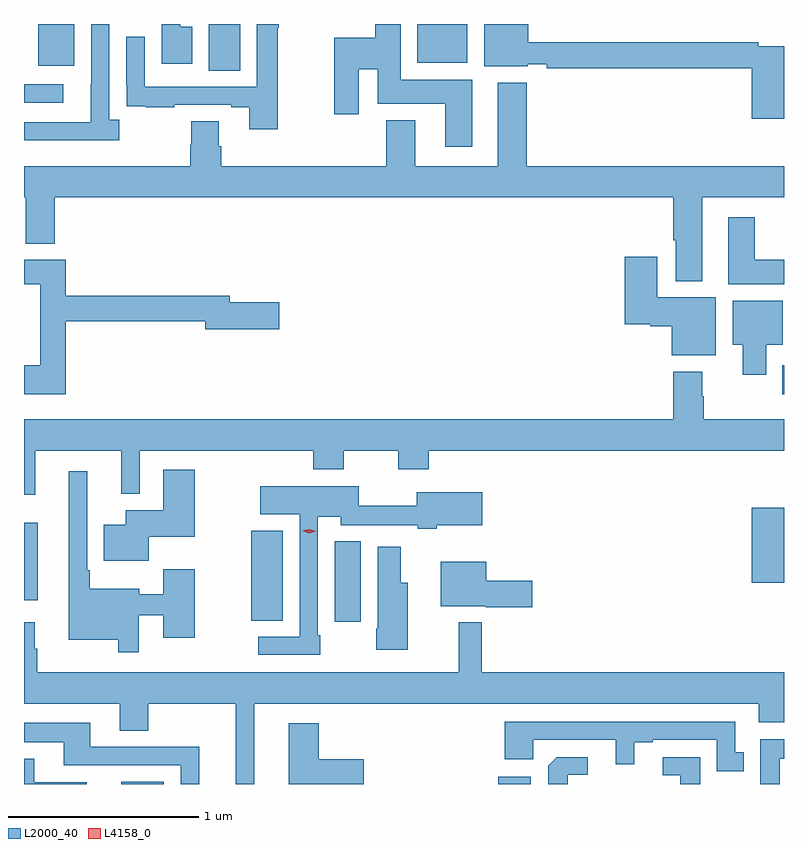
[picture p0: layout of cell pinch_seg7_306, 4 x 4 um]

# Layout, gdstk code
import gdstk
lib = gdstk.Library(unit=1e-6, precision=1e-09)
def R(c, l, rs):  # rectangles x0, y0, x1, y1
    for r in rs: c.add(gdstk.rectangle(r[:2], r[2:], *l))
def P(c, l, *ps):  # polygons
    for p in ps: c.add(gdstk.Polygon(p, *l))
L2000_40 = (2000, 40)
L4158_0 = (4158, 0)

pinch_seg7_306 = lib.new_cell('pinch_seg7_306')
R(pinch_seg7_306, L2000_40, [(538.97,1049.477,539.194,1049.488), (540.956,1049.477,541.126,1049.515), (540.095,1050.33,540.232,1050.755), (539.654,1050.337,539.821,1050.811), (538.459,1050.443,538.531,1050.853), (542.288,1050.537,542.459,1050.931), (542.45,1051.529,542.459,1051.681), (538.459,1053.063,538.666,1053.159), (539.432,1053.232,539.596,1053.477), (538.535,1053.257,538.723,1053.477), (540.53,1053.272,540.793,1053.477)])
P(pinch_seg7_306, L2000_40, [(539.344,1053.463),(539.281,1053.463),(539.281,1053.477),(539.183,1053.477),(539.183,1053.267),(539.344,1053.267)],
  [(538.96,1052.974),(538.908,1052.974),(538.908,1053.477),(538.812,1053.477),(538.812,1053.161),(538.811,1053.161),(538.811,1052.961),(538.459,1052.961),(538.459,1052.864),(538.96,1052.864)],
  [(539.794,1053.456),(539.801,1053.456),(539.801,1053.477),(539.685,1053.477),(539.685,1053.147),(539.094,1053.147),(539.094,1053.409),(538.998,1053.409),(538.998,1053.154),(538.999,1053.154),(538.999,1053.045),(539.101,1053.045),(539.101,1053.039),(539.249,1053.039),(539.249,1053.051),(539.549,1053.051),(539.549,1053.039),(539.645,1053.039),(539.645,1052.922),(539.794,1052.922)],
  [(540.817,1053.184),(540.442,1053.184),(540.442,1053.477),(540.308,1053.477),(540.308,1053.404),(540.091,1053.404),(540.091,1053.003),(540.22,1053.003),(540.22,1053.239),(540.32,1053.239),(540.32,1053.056),(540.677,1053.056),(540.677,1052.832),(540.817,1052.832)],
  [(542.459,1053.36),(542.324,1053.36),(542.324,1053.38),(541.114,1053.38),(541.114,1053.477),(540.881,1053.477),(540.881,1053.254),(541.11,1053.254),(541.11,1053.264),(541.21,1053.264),(541.21,1053.244),(542.288,1053.244),(542.288,1052.979),(542.459,1052.979)],
  [(542.029,1052.564),(542.459,1052.564),(542.459,1052.728),(541.106,1052.728),(541.106,1053.169),(540.953,1053.169),(540.953,1052.728),(540.517,1052.728),(540.517,1052.971),(540.365,1052.971),(540.365,1052.728),(539.498,1052.728),(539.498,1052.834),(539.485,1052.834),(539.485,1052.966),(539.338,1052.966),(539.338,1052.841),(539.333,1052.841),(539.333,1052.728),(538.459,1052.728),(538.459,1052.564),(538.469,1052.564),(538.469,1052.321),(538.622,1052.321),(538.622,1052.564),(541.877,1052.564),(541.877,1052.338),(541.889,1052.338),(541.889,1052.123),(542.029,1052.123)],
  [(542.459,1052.236),(542.305,1052.236),(542.305,1052.461),(542.165,1052.461),(542.165,1052.108),(542.459,1052.108)],
  [(542.101,1052.038),(541.792,1052.038),(541.792,1052.251),(541.622,1052.251),(541.622,1051.898),(541.755,1051.898),(541.755,1051.886),(541.868,1051.886),(541.868,1051.733),(542.101,1051.733)],
  [(538.679,1051.912),(539.414,1051.912),(539.414,1051.87),(539.803,1051.87),(539.803,1052.012),(539.542,1052.012),(539.542,1052.048),(538.679,1052.048),(538.679,1052.236),(538.459,1052.236),(538.459,1052.108),(538.544,1052.108),(538.544,1051.681),(538.459,1051.681),(538.459,1051.529),(538.679,1051.529)],
  [(542.365,1051.79),(542.452,1051.79),(542.452,1052.02),(542.189,1052.02),(542.189,1051.79),(542.243,1051.79),(542.243,1051.632),(542.365,1051.632)],
  [(538.517,1051.232),(538.97,1051.232),(538.97,1051.004),(539.067,1051.004),(539.067,1051.232),(539.981,1051.232),(539.981,1051.133),(540.141,1051.133),(540.141,1051.232),(540.43,1051.232),(540.43,1051.133),(540.59,1051.133),(540.59,1051.232),(542.459,1051.232),(542.459,1051.396),(542.037,1051.396),(542.037,1051.517),(542.029,1051.517),(542.029,1051.648),(541.877,1051.648),(541.877,1051.396),(538.459,1051.396),(538.459,1050.999),(538.517,1050.999)],
  [(539.116,1050.779),(539.358,1050.779),(539.358,1051.132),(539.192,1051.132),(539.192,1050.919),(538.994,1050.919),(538.994,1050.841),(538.88,1050.841),(538.88,1050.653),(539.116,1050.653)],
  [(539.064,1050.366),(539.192,1050.366),(539.192,1050.246),(539.358,1050.246),(539.358,1050.607),(539.192,1050.607),(539.192,1050.475),(539.065,1050.475),(539.065,1050.505),(538.804,1050.505),(538.804,1050.601),(538.791,1050.601),(538.791,1051.123),(538.694,1051.123),(538.694,1050.236),(538.956,1050.236),(538.956,1050.171),(539.064,1050.171)],
  [(540.019,1050.259),(540.006,1050.259),(540.006,1050.884),(540.126,1050.884),(540.126,1050.84),(540.531,1050.84),(540.531,1050.82),(540.631,1050.82),(540.631,1050.839),(540.871,1050.839),(540.871,1051.012),(540.527,1051.012),(540.527,1050.941),(540.222,1050.941),(540.222,1051.045),(539.703,1051.045),(539.703,1050.896),(539.91,1050.896),(539.91,1050.252),(539.691,1050.252),(539.691,1050.156),(540.019,1050.156)],
  [(540.478,1050.535),(540.442,1050.535),(540.442,1050.727),(540.32,1050.727),(540.32,1050.295),(540.313,1050.295),(540.313,1050.183),(540.478,1050.183)],
  [(541.135,1050.548),(540.892,1050.548),(540.892,1050.646),(540.653,1050.646),(540.653,1050.413),(540.888,1050.413),(540.888,1050.406),(541.135,1050.406)],
  [(539.672,1049.9),(542.327,1049.9),(542.327,1049.801),(542.459,1049.801),(542.459,1050.064),(540.868,1050.064),(540.868,1050.328),(540.748,1050.328),(540.748,1050.064),(538.528,1050.064),(538.528,1050.188),(538.516,1050.188),(538.516,1050.328),(538.459,1050.328),(538.459,1049.9),(538.964,1049.9),(538.964,1049.758),(539.112,1049.758),(539.112,1049.9),(539.573,1049.9),(539.573,1049.477),(539.672,1049.477)],
  [(542.248,1049.643),(542.202,1049.643),(542.202,1049.805),(540.989,1049.805),(540.989,1049.606),(541.14,1049.606),(541.14,1049.709),(541.574,1049.709),(541.574,1049.58),(541.672,1049.58),(541.672,1049.697),(541.768,1049.697),(541.768,1049.709),(542.106,1049.709),(542.106,1049.543),(542.248,1049.543)],
  [(539.381,1049.673),(538.807,1049.673),(538.807,1049.8),(538.459,1049.8),(538.459,1049.696),(538.667,1049.696),(538.667,1049.577),(539.283,1049.577),(539.283,1049.477),(539.381,1049.477)],
  [(540.247,1049.607),(540.011,1049.607),(540.011,1049.797),(539.852,1049.797),(539.852,1049.477),(540.247,1049.477)],
  [(542.437,1049.609),(542.459,1049.609),(542.459,1049.713),(542.333,1049.713),(542.333,1049.477),(542.437,1049.477)],
  [(542.017,1049.619),(541.821,1049.619),(541.821,1049.523),(541.913,1049.523),(541.913,1049.477),(542.017,1049.477)],
  [(541.321,1049.526),(541.426,1049.526),(541.426,1049.619),(541.264,1049.619),(541.218,1049.573),(541.218,1049.477),(541.321,1049.477)],
  [(538.79,1049.487),(538.513,1049.487),(538.513,1049.611),(538.459,1049.611),(538.459,1049.477),(538.79,1049.477)])
P(pinch_seg7_306, L4158_0, [(539.959,1050.798),(539.924,1050.809),(539.924,1050.809),(539.924,1050.809),(539.959,1050.818),(539.994,1050.807),(539.994,1050.806),(539.994,1050.806)])

lib.write_gds('pinch_seg7_306.gds')
